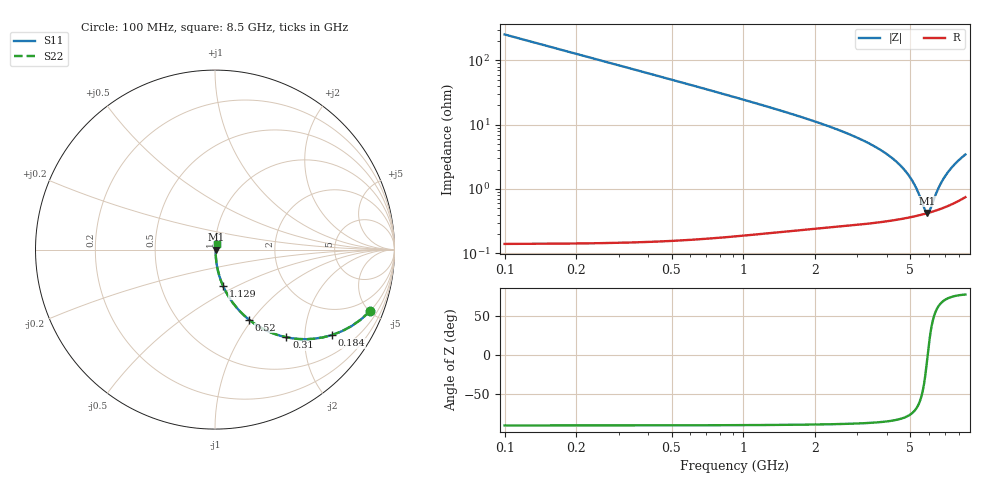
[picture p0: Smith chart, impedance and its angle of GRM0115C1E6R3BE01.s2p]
!Murata Part Number: GRM0115C1E6R3BE01
!These Parameters are Measured in Series Mode Connection
!Data Generated on Mar 30, 2021
!  o--ll--o
!Port1  Port2
!  o------o
!Operation Temp=25[degC], DC Bias Voltage=0[V]
!Freq. Start=100[MHz] Stop=9[GHz] 401[Steps]
# Hz S RI R 50
!Freq.(Hz) S11(Real) S11(Imag) S21(Real) S21(Imag) S12(Real) S12(Imag) S22(Real) S22(Imag)
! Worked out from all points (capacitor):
!   401 points, 100 MHz to 8.5 GHz, reference 50 ohm
!   read as one part in series: C = 6.3 pF near 142 MHz
!   lowest |Z| = 423 mohm at 5.896 GHz (marker M1)
!   series resonance near 5.909 GHz, so ESL is about 120 pH
!   S11 on the Smith chart (normalised r, x): 100 MHz: 1.00, -5.05; 184 MHz: 1.00, -2.74; 310 MHz: 1.00, -1.62; 520 MHz: 1.00, -0.96; 1.129 GHz: 1.00, -0.43; 8.5 GHz: 1.01, +0.07
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1e8  0.8643 -0.3422  0.1357 0.3422  0.1357 0.3422  0.8643 -0.3422
1.84e8  0.6528 -0.4756  0.3472 0.4756  0.3472 0.4756  0.6528 -0.4756
2.47e8  0.5103 -0.4992  0.4897 0.4992  0.4897 0.4992  0.5103 -0.4992
3.1e8  0.3978 -0.4885  0.6022 0.4885  0.6022 0.4885  0.3978 -0.4885
4.15e8  0.2688 -0.4421  0.7312 0.4421  0.7312 0.4421  0.2688 -0.4421
5.2e8  0.1892 -0.39  0.8108 0.39  0.8108 0.39  0.1892 -0.39
7.51e8  0.0998 -0.2971  0.9002 0.2971  0.9002 0.2971  0.0998 -0.2971
1.129e9  0.046 -0.2049  0.954 0.2049  0.954 0.2049  0.046 -0.2049
1.507e9  0.0259 -0.1521  0.9741 0.1521  0.9741 0.1521  0.0259 -0.1521
2.914e9  0.007 -0.0651  0.993 0.0651  0.993 0.0651  0.007 -0.0651
4.3e9  0.00405 -0.0277  0.996 0.0277  0.996 0.0277  0.00405 -0.0277
4.741e9  0.00386 -0.0191  0.9961 0.0191  0.9961 0.0191  0.00386 -0.0191
5.098e9  0.00385 -0.0128  0.9962 0.0128  0.9962 0.0128  0.00385 -0.0128
5.371e9  0.00392 -0.00825  0.9961 0.00825  0.9961 0.00825  0.00392 -0.00825
5.707e9  0.00408 -0.00301  0.9959 0.00301  0.9959 0.00301  0.00408 -0.00301
5.812e9  0.00415 -0.00143  0.9959 0.00143  0.9959 0.00143  0.00415 -0.00143
5.896e9  0.00421 -0.000188  0.9958 0.000188  0.9958 0.000188  0.00421 -0.000188
6.043e9  0.00432 0.00195  0.9957 -0.00195  0.9957 -0.00195  0.00432 0.00195
6.589e9  0.00488 0.00953  0.9951 -0.00953  0.9951 -0.00953  0.00488 0.00953
7.114e9  0.00561 0.0164  0.9944 -0.0164  0.9944 -0.0164  0.00561 0.0164
7.744e9  0.00674 0.0242  0.9933 -0.0242  0.9933 -0.0242  0.00674 0.0242
8.5e9  0.00854 0.0331  0.9915 -0.0331  0.9915 -0.0331  0.00854 0.0331
